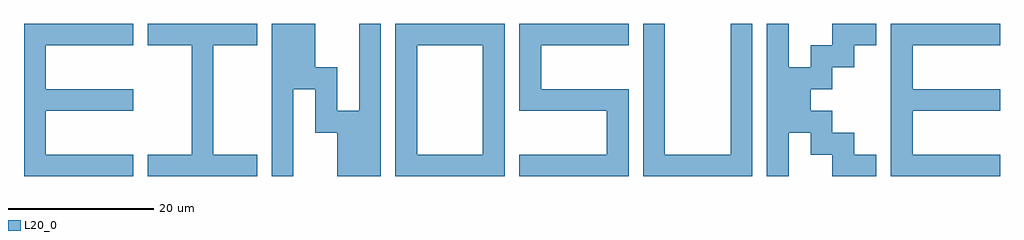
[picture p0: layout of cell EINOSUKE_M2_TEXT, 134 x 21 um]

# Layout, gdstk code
import gdstk
lib = gdstk.Library(unit=1e-6, precision=1e-09)
def P(c, l, *ps):  # polygons
    for p in ps: c.add(gdstk.Polygon(p, *l))
L20_0 = (20, 0)

einosuke_m2_text = lib.new_cell('EINOSUKE_M2_TEXT')
P(einosuke_m2_text, L20_0, [(0,0),(0,21),(15,21),(15,18),(3,18),(3,12),(15,12),(15,9),(3,9),(3,3),(15,3),(15,0)],
  [(17,0),(17,3),(23,3),(23,18),(17,18),(17,21),(32,21),(32,18),(26,18),(26,3),(32,3),(32,0)],
  [(34,0),(34,21),(40,21),(40,15),(43,15),(43,9),(46,9),(46,21),(49,21),(49,0),(43,0),(43,6),(40,6),(40,12),(37,12),(37,0)],
  [(51,0),(51,18),(54,18),(54,3),(63,3),(63,18),(51,18),(51,21),(66,21),(66,0)],
  [(68,0),(68,3),(80,3),(80,9),(68,9),(68,21),(83,21),(83,18),(71,18),(71,12),(83,12),(83,0)],
  [(85,0),(85,21),(88,21),(88,3),(97,3),(97,21),(100,21),(100,0)],
  [(102,0),(102,21),(105,21),(105,15),(108,15),(108,18),(111,18),(111,21),(117,21),(117,18),(114,18),(114,15),(111,15),(111,12),(108,12),(108,9),(111,9),(111,6),(114,6),(114,3),(117,3),(117,0),(111,0),(111,3),(108,3),(108,6),(105,6),(105,0)],
  [(119,0),(119,21),(134,21),(134,18),(122,18),(122,12),(134,12),(134,9),(122,9),(122,3),(134,3),(134,0)])

lib.write_gds('EINOSUKE_M2_TEXT.gds')
